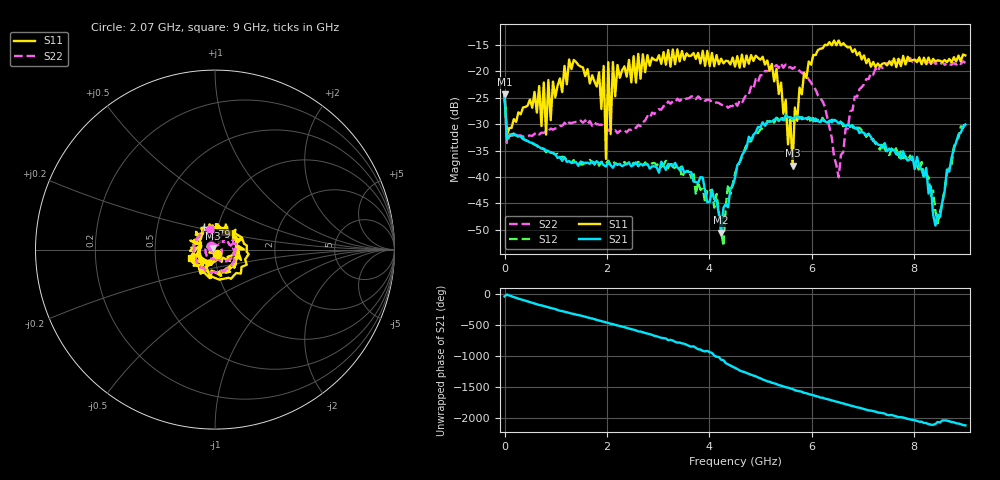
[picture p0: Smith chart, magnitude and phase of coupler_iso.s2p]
!Agilent Technologies,E8358A,US40210021,A.06.04.30
!Agilent E8358A: A.06.04.30
!Date: Saturday, April 14, 2018 14:30:13
!Correction: S11(Full 2 Port(1,2)) S21(Full 2 Port(1,2)) S12(Full 2 Port(1,2)) S22(Full 2 Port(1,2))
!S2P File: Measurements: S11, S21, S12, S22:
# Hz S  RI  R 50
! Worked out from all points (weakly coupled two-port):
!   201 points, 300 kHz to 9 GHz, reference 50 ohm
!   highest |S21| = -24.32 dB at 300 kHz (marker M1); lowest = -50.5 dB at 4.23 GHz (marker M2)
!   lowest |S11| = -37.9 dB at 5.625 GHz (marker M3), VSWR 1.03, Z = 48.9 + j0.624 ohm
!   |S11| at or under -10 dB: start of sweep to end of sweep
!   |S22| runs from -40.1 to -17.5 dB; largest |S21 - S12| = 0.0052
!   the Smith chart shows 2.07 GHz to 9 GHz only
!   S11 on the Smith chart (normalised r, x): 2.07 GHz: 1.02, -0.05; 2.79 GHz: 0.86, +0.22; 9 GHz: 0.76, -0.07
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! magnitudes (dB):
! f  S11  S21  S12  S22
! 300 kHz  -24.2  -24.3  -24.3  -24.8
! 765.3 MHz  -22.1  -34.6  -34.7  -31.7
! 810.3 MHz  -32.0  -35.0  -35.3  -31.3
! 855.3 MHz  -21.6  -35.1  -34.8  -31.3
! 1.53 GHz  -19.3  -37.3  -37.6  -29.7
! 1.935 GHz  -19.0  -37.8  -37.3  -30.3
! 1.98 GHz  -36.6  -38.0  -37.5  -30.6
! 2.025 GHz  -18.3  -37.3  -36.9  -31.2
! 2.07 GHz  -31.9  -37.8  -37.7  -30.8
! 2.115 GHz  -18.2  -38.3  -37.2  -31.3
! 2.79 GHz  -16.9  -37.5  -37.7  -28.5
! 3.015 GHz  -16.9  -39.2  -37.5  -27.2
! 4.23 GHz  -17.6  -50.5  -50.3  -26.3
! 4.5 GHz  -19.1  -40.2  -39.3  -25.9
! 5.31 GHz  -19.5  -28.9  -28.8  -18.8
! 5.625 GHz  -37.9  -28.9  -29.2  -19.5
! 5.67 GHz  -26.9  -28.8  -29.6  -19.2
! 6.03 GHz  -16.9  -29.5  -28.8  -22.9
! 6.525 GHz  -14.1  -29.8  -29.3  -40.1
! 7.515 GHz  -18.1  -34.6  -35.9  -18.4
! 8.415 GHz  -18.1  -49.2  -46.5  -18.5
! 9 GHz  -17.0  -30.0  -29.4  -18.4
